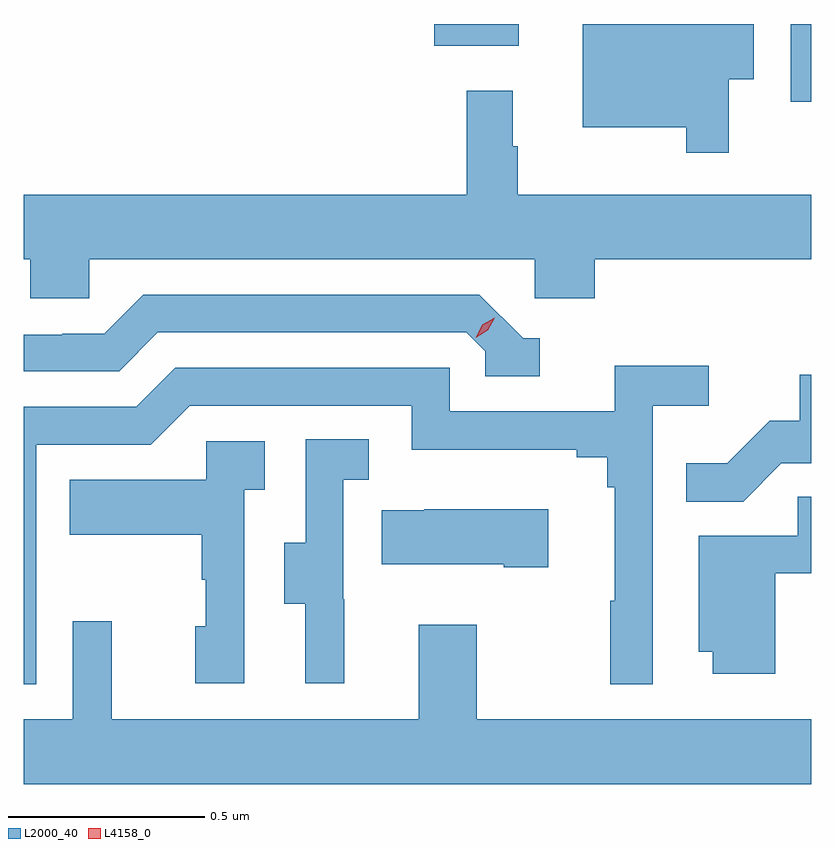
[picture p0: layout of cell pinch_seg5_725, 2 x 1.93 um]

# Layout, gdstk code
import gdstk
lib = gdstk.Library(unit=1e-6, precision=1e-09)
def R(c, l, rs):  # rectangles x0, y0, x1, y1
    for r in rs: c.add(gdstk.rectangle(r[:2], r[2:], *l))
def P(c, l, *ps):  # polygons
    for p in ps: c.add(gdstk.Polygon(p, *l))
L2000_40 = (2000, 40)
L4158_0 = (4158, 0)

pinch_seg5_725 = lib.new_cell('pinch_seg5_725')
R(pinch_seg5_725, L2000_40, [(1083.122,837.18,1083.174,837.378), (1082.216,837.323,1082.431,837.378)])
P(pinch_seg5_725, L2000_40, [(1082.965,837.238),(1083.028,837.238),(1083.028,837.378),(1082.594,837.378),(1082.594,837.116),(1082.856,837.116),(1082.856,837.051),(1082.965,837.051)],
  [(1081.341,836.78),(1082.472,836.78),(1082.472,836.682),(1082.624,836.682),(1082.624,836.78),(1083.174,836.78),(1083.174,836.944),(1082.428,836.944),(1082.428,837.068),(1082.416,837.068),(1082.416,837.208),(1082.299,837.208),(1082.299,836.944),(1081.174,836.944),(1081.174,836.78),(1081.191,836.78),(1081.191,836.682),(1081.341,836.682)],
  [(1082.485,836.58),(1082.442,836.58),(1082.331,836.691),(1081.478,836.691),(1081.379,836.592),(1081.272,836.592),(1081.272,836.589),(1081.174,836.589),(1081.174,836.496),(1081.416,836.496),(1081.515,836.595),(1082.298,836.595),(1082.346,836.547),(1082.346,836.484),(1082.485,836.484)],
  [(1081.206,836.31),(1081.497,836.31),(1081.596,836.409),(1082.16,836.409),(1082.16,836.297),(1082.579,836.297),(1082.579,836.278),(1082.656,836.278),(1082.656,836.201),(1082.675,836.201),(1082.675,835.913),(1082.664,835.913),(1082.664,835.701),(1082.772,835.701),(1082.772,836.408),(1082.914,836.408),(1082.914,836.51),(1082.675,836.51),(1082.675,836.394),(1082.256,836.394),(1082.256,836.505),(1081.559,836.505),(1081.46,836.406),(1081.174,836.406),(1081.174,835.701),(1081.206,835.701)],
  [(1083.098,836.262),(1083.174,836.262),(1083.174,836.487),(1083.145,836.487),(1083.145,836.37),(1083.068,836.37),(1082.961,836.263),(1082.857,836.263),(1082.857,836.165),(1083.001,836.165)],
  [(1081.988,835.917),(1081.986,835.917),(1081.986,836.221),(1082.05,836.221),(1082.05,836.324),(1081.89,836.324),(1081.89,836.061),(1081.835,836.061),(1081.835,835.906),(1081.889,835.906),(1081.889,835.704),(1081.988,835.704)],
  [(1081.734,836.195),(1081.786,836.195),(1081.786,836.319),(1081.638,836.319),(1081.638,836.221),(1081.291,836.221),(1081.291,836.081),(1081.626,836.081),(1081.626,835.967),(1081.636,835.967),(1081.636,835.848),(1081.61,835.848),(1081.61,835.704),(1081.734,835.704)],
  [(1083.082,835.983),(1083.174,835.983),(1083.174,836.177),(1083.139,836.177),(1083.139,836.079),(1082.888,836.079),(1082.888,835.784),(1082.924,835.784),(1082.924,835.728),(1083.082,835.728)],
  [(1082.506,836.146),(1082.191,836.146),(1082.191,836.143),(1082.083,836.143),(1082.083,836.006),(1082.393,836.006),(1082.393,835.999),(1082.506,835.999)],
  [(1083.174,835.612),(1082.325,835.612),(1082.325,835.852),(1082.177,835.852),(1082.177,835.612),(1081.397,835.612),(1081.397,835.861),(1081.299,835.861),(1081.299,835.612),(1081.174,835.612),(1081.174,835.448),(1083.174,835.448)])
P(pinch_seg5_725, L4158_0, [(1082.322,836.581),(1082.322,836.581),(1082.339,836.614),(1082.37,836.632),(1082.37,836.632),(1082.37,836.632),(1082.353,836.6),(1082.322,836.581)])

lib.write_gds('pinch_seg5_725.gds')
